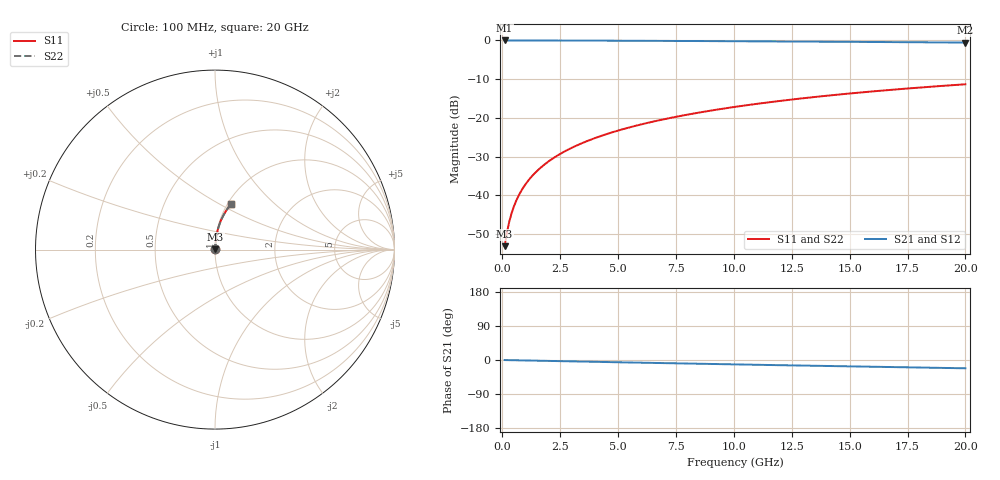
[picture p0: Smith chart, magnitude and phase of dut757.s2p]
! Touchstone file exported from HFSS 2024.1.0
!  File:  C:/UserFiles/LocalFiles/RDL_TSV_Batchsim/temp_RDL_top_757_1779852056.aedt
!  Generated:  11:23:21 AM May 27, 2026
!  Design:  RDL_top
!  Project:  temp_RDL_top_757_1779852056
!  Setup:  Setup1
!  Solution:  Sweep
! Variables:
!  dtsv = 10.80580581um
!  hbump = 3um
!  htsv = 57.77um
!  ldown = 100um
!  lrdl = 256.26um
!  p = 40
!  p1 = 48.22um
!  rhole = 1um
!  t = 450um
!  tdown = 3.915915916um
!  trdl = 4.32um
!  wdown = 15.38538539um
!  wrdl = 13.32um
# GHz S MA R 50.000000
! Terminal data exported
! Port[1] = Box2_T1
! Port[2] = Box2_T2
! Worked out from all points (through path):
!   200 points, 100 MHz to 20 GHz, reference 50 ohm
!   highest |S21| = -0.01 dB at 100 MHz (marker M1); lowest = -0.6 dB at 20 GHz (marker M2)
!   group delay of S21, straight-line fit = 3.03 ps
!   lowest |S11| = -53.1 dB at 100 MHz (marker M3), VSWR 1.00, Z = 50.2 + j0.143 ohm
!   |S11| at or under -10 dB: start of sweep to end of sweep
!   |S22| runs from -53.1 to -11.3 dB; largest |S21 - S12| = 2.3e-15
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0.1  0.002213 39.9  0.9983 -0.1  0.9983 -0.1  0.002213 39.9
! Gamma 0 0 0 0
! Port Impedance 50 0 50 0
0.2  0.003316 58.4  0.9983 -0.3  0.9983 -0.3  0.003316 58.4
0.3  0.00457 67.0  0.9982 -0.4  0.9982 -0.4  0.00457 67.0
0.4  0.00587 71.8  0.9981 -0.5  0.9981 -0.5  0.00587 71.8
0.5  0.007187 74.9  0.9981 -0.6  0.9981 -0.6  0.007187 74.9
0.6  0.008516 77.0  0.998 -0.7  0.998 -0.7  0.008516 77.0
0.8  0.01119 79.7  0.9979 -1.0  0.9979 -1.0  0.01119 79.7
1.1  0.01524 82.0  0.9977 -1.3  0.9977 -1.3  0.01524 82.0
1.5  0.02067 83.5  0.9974 -1.8  0.9974 -1.8  0.02067 83.5
1.8  0.02475 84.1  0.997 -2.2  0.997 -2.2  0.02475 84.1
2.1  0.02885 84.5  0.9967 -2.6  0.9967 -2.6  0.02885 84.5
2.7  0.03705 84.8  0.9958 -3.3  0.9958 -3.3  0.03705 84.8
3.5  0.04801 84.8  0.9944 -4.2  0.9944 -4.2  0.04801 84.8
4.2  0.05763 84.6  0.993 -5.1  0.993 -5.1  0.05763 84.6
5  0.06866 84.2  0.9911 -6.0  0.9911 -6.0  0.06866 84.2
5.9  0.0811 83.7  0.9888 -7.0  0.9888 -7.0  0.0811 83.7
6.8  0.09359 83.1  0.9862 -8.0  0.9862 -8.0  0.09359 83.1
8.3  0.1145 81.9  0.9817 -9.7  0.9817 -9.7  0.1145 81.9
10.1  0.1395 80.3  0.9758 -11.7  0.9758 -11.7  0.1395 80.3
13.4  0.1849 77.0  0.9641 -15.2  0.9641 -15.2  0.1849 77.0
16.7  0.2291 73.7  0.9514 -18.6  0.9514 -18.6  0.2291 73.7
20  0.2716 70.3  0.9376 -21.9  0.9376 -21.9  0.2716 70.3
